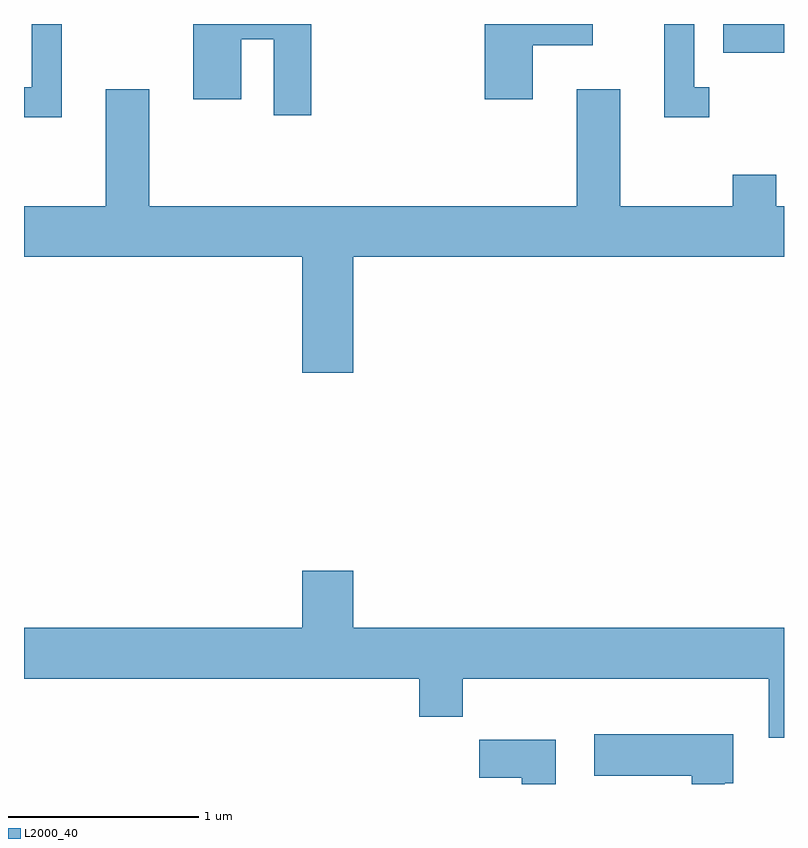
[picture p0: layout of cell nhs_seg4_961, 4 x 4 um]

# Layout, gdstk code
import gdstk
lib = gdstk.Library(unit=1e-6, precision=1e-09)
def R(c, l, rs):  # rectangles x0, y0, x1, y1
    for r in rs: c.add(gdstk.rectangle(r[:2], r[2:], *l))
def P(c, l, *ps):  # polygons
    for p in ps: c.add(gdstk.Polygon(p, *l))
L2000_40 = (2000, 40)

nhs_seg4_961 = lib.new_cell('nhs_seg4_961')
R(nhs_seg4_961, L2000_40, [(217.291,1275.831,217.611,1275.982)])
P(nhs_seg4_961, L2000_40, [(217.218,1275.649),(217.139,1275.649),(217.139,1275.982),(216.981,1275.982),(216.981,1275.491),(217.218,1275.491)],
  [(213.809,1275.982),(213.651,1275.982),(213.651,1275.649),(213.611,1275.649),(213.611,1275.491),(213.809,1275.491)],
  [(216.289,1275.871),(216.604,1275.871),(216.604,1275.982),(216.036,1275.982),(216.036,1275.586),(216.289,1275.586)],
  [(215.124,1275.982),(214.501,1275.982),(214.501,1275.586),(214.754,1275.586),(214.754,1275.901),(214.926,1275.901),(214.926,1275.501),(215.124,1275.501)],
  [(215.344,1274.756),(217.611,1274.756),(217.611,1275.024),(217.569,1275.024),(217.569,1275.189),(217.341,1275.189),(217.341,1275.024),(216.749,1275.024),(216.749,1275.639),(216.521,1275.639),(216.521,1275.024),(214.269,1275.024),(214.269,1275.639),(214.041,1275.639),(214.041,1275.024),(213.611,1275.024),(213.611,1274.756),(215.076,1274.756),(215.076,1274.146),(215.344,1274.146)],
  [(217.611,1272.804),(215.344,1272.804),(215.344,1273.104),(215.076,1273.104),(215.076,1272.804),(213.611,1272.804),(213.611,1272.536),(215.691,1272.536),(215.691,1272.336),(215.919,1272.336),(215.919,1272.536),(217.531,1272.536),(217.531,1272.226),(217.611,1272.226)],
  [(217.299,1271.986),(217.344,1271.986),(217.344,1272.244),(216.611,1272.244),(216.611,1272.026),(217.126,1272.026),(217.126,1271.982),(217.299,1271.982)],
  [(216.409,1272.214),(216.006,1272.214),(216.006,1272.016),(216.231,1272.016),(216.231,1271.982),(216.409,1271.982)])

lib.write_gds('nhs_seg4_961.gds')
